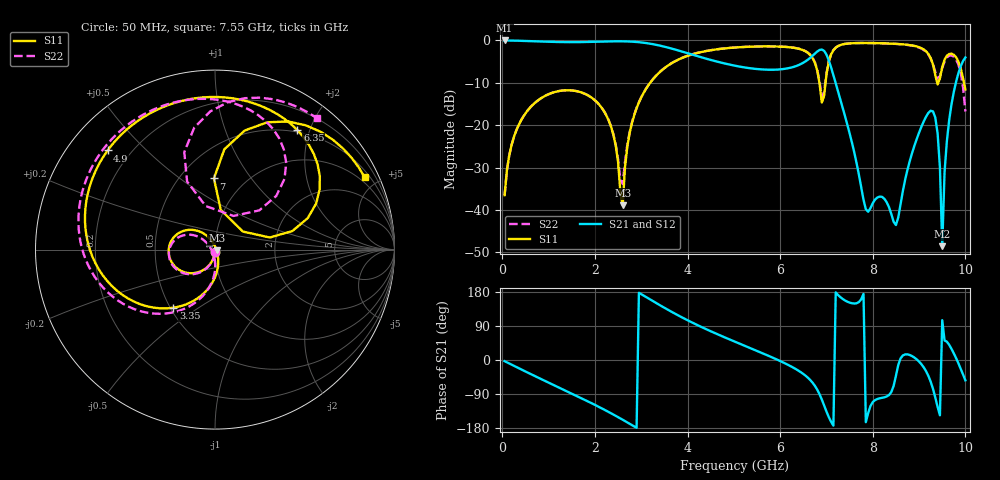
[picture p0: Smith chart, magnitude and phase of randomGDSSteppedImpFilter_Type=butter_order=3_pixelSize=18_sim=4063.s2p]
! freq	dB(S11)	phase(S11)	dB(S12)	phase(S12)
!  dB(S21)	phase(S21)	dB(S22)	phase(S22)
!S-par simulation data
#  GHz  S  DB  R 50
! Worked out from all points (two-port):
!   200 points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, 50 MHz to 10 GHz, reference 50 ohm
!   highest |S21| = -0.01 dB at 50 MHz (marker M1); lowest = -48.5 dB at 9.5 GHz (marker M2)
!   |S21| within 3 dB of the highest: start of sweep to 3.999 GHz; 6.761 GHz to 6.981 GHz (220.3 MHz wide, 3.21 % of centre)
!   lowest |S11| = -38.9 dB at 2.6 GHz (marker M3), VSWR 1.02, Z = 51 - j0.491 ohm
!   |S11| at or under -10 dB: start of sweep to 3.193 GHz; 6.849 GHz to 6.98 GHz (131.6 MHz wide, 1.9 % of centre); 9.391228 GHz to 9.413723 GHz (22.5 MHz wide, 0.239 % of centre) (the widest 3 of 4)
!   |S22| runs from -36.5 to -0.6 dB; largest |S21 - S12| = 0
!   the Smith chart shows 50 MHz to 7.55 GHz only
!   S11 on the Smith chart (normalised r, x): 50 MHz: 1.00, -0.03; 3.35 GHz: 0.52, -0.40; 4.9 GHz: 0.12, +0.39; 6.35 GHz: 0.47, +1.81; 7 GHz: 0.72, +0.68; 7.55 GHz: 0.74, +4.23
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0.05  -36.47 -92.4  -0.01 -3.1  -0.01 -3.1  -36.47 -92.2
0.55  -16.48 -124.7  -0.14 -33.3  -0.14 -33.3  -16.48 -122.9
1.75  -12.44 163.0  -0.38 -103.2  -0.38 -103.2  -12.44 170.2
2.35  -20.40 121.9  -0.22 -140.7  -0.22 -140.7  -20.34 140.6
2.6  -38.90 -25.1  -0.21 -157.6  -0.21 -157.6  -33.82 -130.9
2.8  -19.48 -82.0  -0.29 -171.8  -0.29 -171.8  -19.30 -89.6
3.35  -8.00 -125.6  -1.10 148.4  -1.10 148.4  -7.97 -121.0
3.4  -7.47 -129.3  -1.22 144.8  -1.22 144.8  -7.44 -124.2
4.9  -1.78 137.3  -5.68 54.6  -5.68 54.6  -1.77 151.7
5.05  -1.66 129.2  -6.02 46.9  -6.02 46.9  -1.64 144.6
6.35  -1.84 55.4  -6.02 -24.7  -6.02 -24.7  -1.82 78.8
6.7  -4.16 24.5  -3.62 -59.8  -3.62 -59.8  -4.09 50.6
7  -8.03 90.8  -3.34 -136.0  -3.34 -136.0  -7.74 112.3
7.55  -0.67 25.9  -24.07 149.7  -24.07 149.7  -0.66 52.1
7.85  -0.61 5.4  -39.80 -164.1  -39.80 -164.1  -0.61 31.9
8.35  -0.73 -25.8  -39.30 -92.6  -39.30 -92.6  -0.73 -0.1
9.05  -1.82 -84.7  -20.37 -11.1  -20.37 -11.1  -1.92 -64.3
9.3  -5.70 -148.5  -16.74 -76.0  -16.74 -76.0  -5.58 -132.2
9.4  -10.40 123.9  -21.93 -124.0  -21.93 -124.0  -9.01 149.9
9.5  -6.27 21.4  -48.51 105.0  -48.51 105.0  -6.50 56.3
9.65  -3.19 -38.0  -18.77 40.1  -18.77 40.1  -3.60 -10.4
10  -11.57 -81.7  -4.01 -53.7  -4.01 -53.7  -16.75 -75.1
